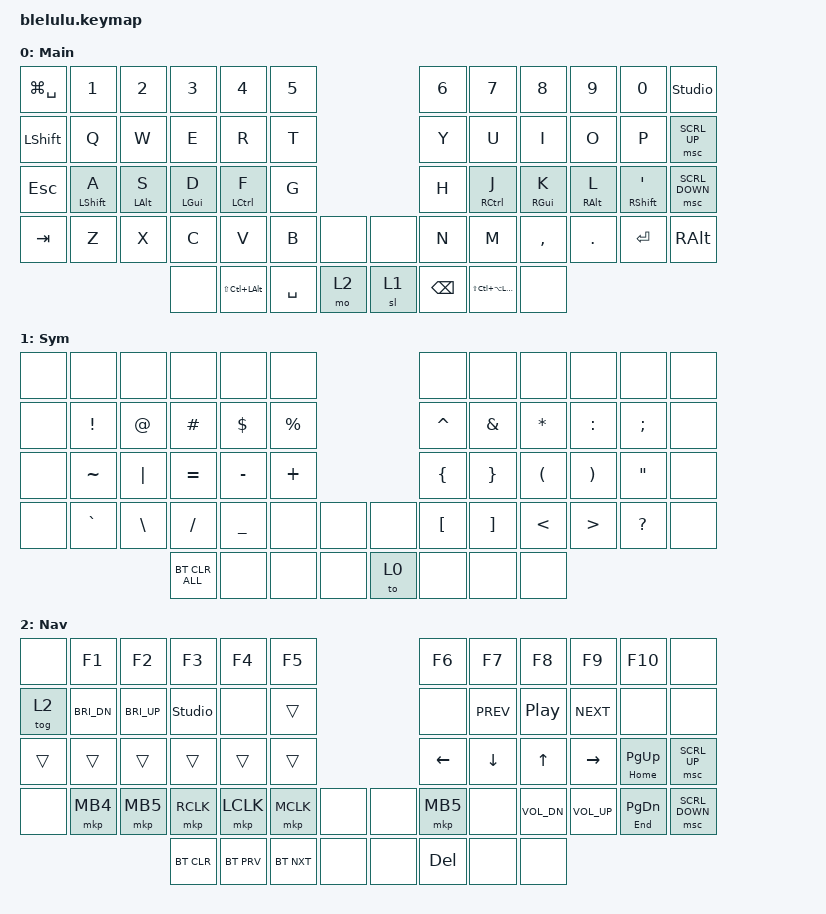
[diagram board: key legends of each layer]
/*
 * Copyright (c) 2026 jack@pngu.org
 * SPDX-License-Identifier: MIT
 *
 * Layout ported from the ZSA Voyager "a_main" (Oryx) layout.
 * Layers: 0 main, 1 sym, 2 nav/fn (includes Bluetooth + Studio unlock keys)
 */

#include <behaviors.dtsi>
#include <dt-bindings/zmk/bt.h>
#include <dt-bindings/zmk/keys.h>
#include <dt-bindings/zmk/pointing.h>

#define MEH LS(LC(LALT))
#define HYPER LS(LC(LA(LGUI)))

/* Key positions (58-key Lulu), used for opposite-hand home-row mods */

#define KEYS_L 0 1 2 3 4 5 12 13 14 15 16 17 24 25 26 27 28 29 36 37 38 39 40 41
#define KEYS_R 6 7 8 9 10 11 18 19 20 21 22 23 30 31 32 33 34 35 44 45 46 47 48 49
#define THUMBS 42 43 50 51 52 53 54 55 56 57

/ {
    behaviors {
        // Left-hand home-row mod: only holds when another key (right hand/thumb) is pressed

        hml: homerow_left {
            compatible = "zmk,behavior-hold-tap";
            #binding-cells = <2>;
            flavor = "balanced";                // ~ QMK permissive hold
            tapping-term-ms = <180>;
            quick-tap-ms = <175>;
            require-prior-idle-ms = <100>;      // ~ QMK flow tap (100ms)
            hold-trigger-key-positions = <KEYS_R THUMBS>;
            hold-trigger-on-release;
            bindings = <&kp>, <&kp>;
        };

        // Right-hand home-row mod

        hmr: homerow_right {
            compatible = "zmk,behavior-hold-tap";
            #binding-cells = <2>;
            flavor = "balanced";
            tapping-term-ms = <180>;
            quick-tap-ms = <175>;
            require-prior-idle-ms = <100>;
            hold-trigger-key-positions = <KEYS_L THUMBS>;
            hold-trigger-on-release;
            bindings = <&kp>, <&kp>;
        };

        // Voyager per-key tapping term: ' = 120ms

        hmr_q: homerow_right_quote {
            compatible = "zmk,behavior-hold-tap";
            #binding-cells = <2>;
            flavor = "balanced";
            tapping-term-ms = <120>;
            quick-tap-ms = <175>;
            require-prior-idle-ms = <100>;
            hold-trigger-key-positions = <KEYS_L THUMBS>;
            hold-trigger-on-release;
            bindings = <&kp>, <&kp>;
        };
    };

    keymap {
        compatible = "zmk,keymap";

        main {
            display-name = "Main";
            bindings = <
&kp LG(SPACE)   &kp N1        &kp N2       &kp N3       &kp N4        &kp N5                     &kp N6    &kp N7        &kp N8       &kp N9       &kp N0            &studio_unlock
&kp LEFT_SHIFT  &kp Q         &kp W        &kp E        &kp R         &kp T                      &kp Y     &kp U         &kp I        &kp O        &kp P             &msc SCRL_UP
&kp ESCAPE      &hml LSHFT A  &hml LALT S  &hml LGUI D  &hml LCTRL F  &kp G                      &kp H     &hmr RCTRL J  &hmr RGUI K  &hmr RALT L  &hmr_q RSHFT SQT  &msc SCRL_DOWN
&kp TAB         &kp Z         &kp X        &kp C        &kp V         &kp B      &none    &none  &kp N     &kp M         &kp COMMA    &kp DOT      &kp RET           &kp RIGHT_ALT
                                           &none        &kp MEH       &kp SPACE  &mo 2    &sl 1  &kp BSPC  &kp HYPER     &none
            >;
        };

        sym {
            display-name = "Sym";
            bindings = <
&none  &none      &none     &none           &none      &none                      &none      &none     &none      &none      &none      &none
&none  &kp EXCL   &kp AT    &kp HASH        &kp DLLR   &kp PRCNT                  &kp CARET  &kp AMPS  &kp ASTRK  &kp COLON  &kp SEMI   &none
&none  &kp TILDE  &kp PIPE  &kp EQUAL       &kp MINUS  &kp PLUS                   &kp LBRC   &kp RBRC  &kp LPAR   &kp RPAR   &kp DQT    &none
&none  &kp GRAVE  &kp BSLH  &kp FSLH        &kp UNDER  &none      &none    &none  &kp LBKT   &kp RBKT  &kp LT     &kp GT     &kp QMARK  &none
                            &bt BT_CLR_ALL  &none      &none      &none    &to 0  &none      &none     &none
            >;
        };

        nav_fn {
            display-name = "Nav";
            bindings = <
&none   &kp F1        &kp F2        &kp F3          &kp F4      &kp F5                      &kp F6    &kp F7      &kp F8        &kp F9        &kp F10         &none
&tog 2  &kp C_BRI_DN  &kp C_BRI_UP  &studio_unlock  &none       &trans                      &none     &kp C_PREV  &kp C_PP      &kp C_NEXT    &none           &none
&trans  &trans        &trans        &trans          &trans      &trans                      &kp LEFT  &kp DOWN    &kp UP        &kp RIGHT     &mt HOME PG_UP  &msc SCRL_UP
&none   &mkp MB4      &mkp MB5      &mkp RCLK       &mkp LCLK   &mkp MCLK   &none    &none  &mkp MB5  &none       &kp C_VOL_DN  &kp C_VOL_UP  &mt END PG_DN   &msc SCRL_DOWN
                                    &bt BT_CLR      &bt BT_PRV  &bt BT_NXT  &none    &none  &kp DEL   &none       &none
            >;
        };
    };
};
